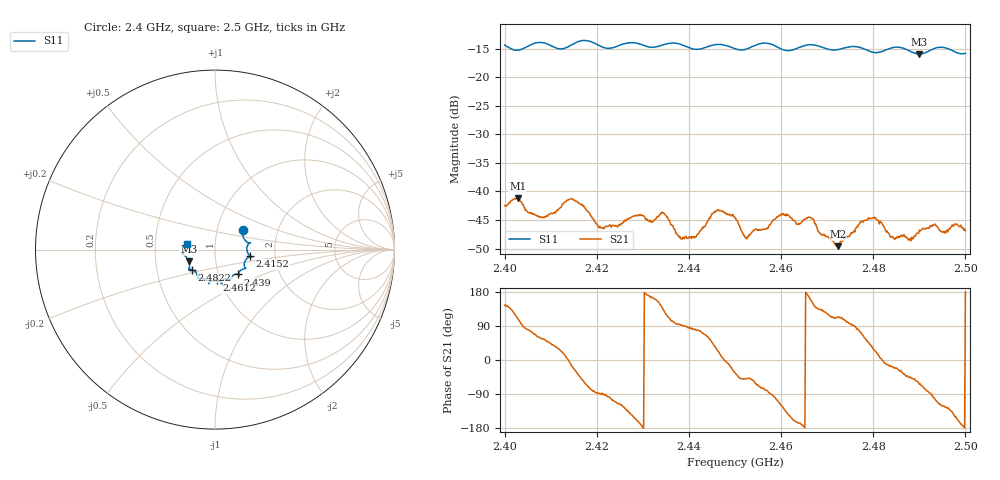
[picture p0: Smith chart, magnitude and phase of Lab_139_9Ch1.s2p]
# Hz S RI R 50
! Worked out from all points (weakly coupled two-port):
!   601 points, 2.4 GHz to 2.5 GHz, reference 50 ohm
!   highest |S21| = -41.22 dB at 2.4028 GHz (marker M1); lowest = -49.6 dB at 2.4723 GHz (marker M2)
!   lowest |S11| = -15.9 dB at 2.49 GHz (marker M3), VSWR 1.38, Z = 37 - j4.87 ohm
!   |S11| at or under -10 dB: start of sweep to end of sweep
!   S12 and S22 are empty: the file has one direction only
!   S11 on the Smith chart (normalised r, x): 2.4 GHz: 1.33, +0.31; 2.4152 GHz: 1.48, -0.11; 2.439 GHz: 1.24, -0.35; 2.4612 GHz: 0.96, -0.34; 2.4822 GHz: 0.76, -0.17; 2.5 GHz: 0.72, +0.05
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2.4e9  0.1559 0.1108  -0.00613 0.00436  0 0  0 0
2.402833e9  0.1601 0.0637  -0.00292 0.00818  0 0  0 0
2.408e9  0.1977 0.0395  0.00331 0.00498  0 0  0 0
2.415167e9  0.1951 -0.036  0.00747 -0.00365  0 0  0 0
2.416667e9  0.2049 -0.0421  0.00491 -0.00582  0 0  0 0
2.421e9  0.1791 -0.0491  -6.99e-05 -0.00478  0 0  0 0
2.433333e9  0.1321 -0.1318  -0.00536 0.00269  0 0  0 0
2.4345e9  0.1309 -0.1415  -0.0043 0.00482  0 0  0 0
2.439e9  0.1282 -0.1383  1.85e-05 0.00386  0 0  0 0
2.441667e9  0.1023 -0.1427  0.00073 0.00403  0 0  0 0
2.446e9  0.0857 -0.1738  0.00594 0.00328  0 0  0 0
2.45e9  0.0688 -0.1639  0.00494 -0.0033  0 0  0 0
2.452667e9  0.041 -0.1729  0.00263 -0.003  0 0  0 0
2.461167e9  0.00904 -0.171  -0.00469 -0.00429  0 0  0 0
2.463833e9  -0.0262 -0.1799  -0.00508 -0.00131  0 0  0 0
2.466667e9  -0.0339 -0.1896  -0.00527 0.00254  0 0  0 0
2.472333e9  -0.0695 -0.16  -0.0013 0.00306  0 0  0 0
2.4785e9  -0.0983 -0.1432  0.00339 0.00447  0 0  0 0
2.482167e9  -0.1277 -0.1114  0.00507 -0.000264  0 0  0 0
2.483333e9  -0.1389 -0.11  0.00418 -0.00107  0 0  0 0
2.49e9  -0.1463 -0.0641  0.00204 -0.00411  0 0  0 0
2.5e9  -0.1586 0.0332  -0.00454 1.9e-05  0 0  0 0
